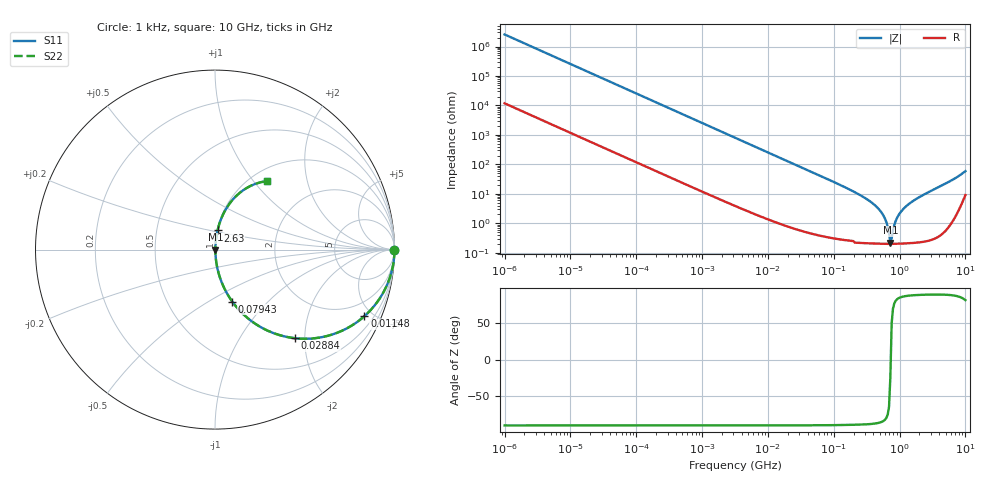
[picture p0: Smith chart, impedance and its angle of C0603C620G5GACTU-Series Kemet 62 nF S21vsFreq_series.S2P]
!C0603C620G5GACTU
!Temp@ 25°C, Bias@ 0V Shunt
! KEMET S2P Model
# HZ S DB R 50
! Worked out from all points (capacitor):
!   351 points, 1 kHz to 10 GHz, reference 50 ohm
!   read as one part in series: C = 62.2 pF near 1.047 kHz
!   lowest |Z| = 219 mohm at 724.4 MHz (marker M1)
!   series resonance near 733.8 MHz, so ESL is about 760 pH
!   S11 on the Smith chart (normalised r, x): 1 kHz: open; 11.48 MHz: 1.02, -4.48; 28.84 MHz: 1.01, -1.79; 79.43 MHz: 1.01, -0.64; 2.63 GHz: 1.01, +0.22; 10 GHz: 1.18, +1.17
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1000  -0.00 -0.0  -88.17 89.7  -88.17 89.7  -0.00 -0.0
2630.269  -0.00 -0.0  -79.77 89.7  -79.77 89.7  -0.00 -0.0
15135.61  -0.00 -0.0  -64.57 89.7  -64.57 89.7  -0.00 -0.0
218776.2  -0.00 -0.5  -41.37 89.2  -41.37 89.2  -0.00 -0.5
3162278  -0.07 -7.0  -18.26 82.7  -18.26 82.7  -0.07 -7.0
1.148154e7  -0.81 -24.0  -7.82 65.7  -7.82 65.7  -0.81 -24.0
2.884032e7  -3.56 -48.0  -2.58 41.6  -2.58 41.6  -3.56 -48.0
4.786299e7  -6.53 -61.4  -1.13 28.1  -1.13 28.1  -6.53 -61.4
7.943284e7  -10.31 -71.6  -0.45 17.8  -0.45 17.8  -10.31 -71.6
2.290866e8  -19.88 -83.0  -0.06 5.8  -0.06 5.8  -19.88 -83.0
4.168693e8  -27.52 -84.8  -0.03 2.4  -0.03 2.4  -27.52 -84.8
5.754403e8  -35.16 -82.4  -0.02 1.0  -0.02 1.0  -35.16 -82.4
6.309576e8  -39.26 -78.8  -0.02 0.6  -0.02 0.6  -39.26 -78.8
6.918312e8  -46.72 -64.1  -0.02 0.2  -0.02 0.2  -46.72 -64.1
7.244354e8  -53.19 -24.2  -0.02 0.1  -0.02 0.1  -53.19 -24.2
8.317639e8  -41.14 76.2  -0.02 -0.5  -0.02 -0.5  -41.14 76.2
9.120109e8  -36.49 81.4  -0.02 -0.9  -0.02 -0.9  -36.49 81.4
1.04713e9  -32.20 83.8  -0.02 -1.4  -0.02 -1.4  -32.20 83.8
1.513562e9  -25.61 84.7  -0.03 -3.0  -0.03 -3.0  -25.61 84.7
2.630268e9  -19.37 82.5  -0.07 -6.2  -0.07 -6.2  -19.37 82.5
6.309576e9  -11.02 71.5  -0.45 -16.3  -0.45 -16.3  -11.02 71.5
1e10  -6.42 53.0  -1.85 -28.2  -1.85 -28.2  -6.42 53.0
